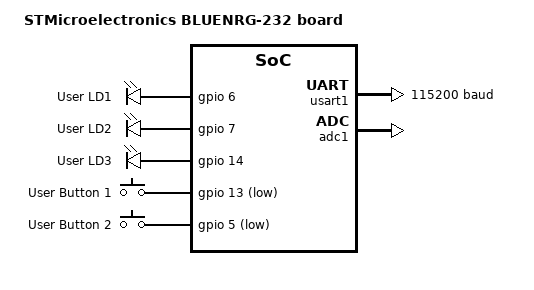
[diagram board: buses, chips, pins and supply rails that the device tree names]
/*
 * Copyright (c) 2017 Powersoft
 *
 * SPDX-License-Identifier: Apache-2.0
 */

/dts-v1/;
#include <st/bluenrg/bluenrg.dtsi>

/ {
	model = "STMicroelectronics BLUENRG-232 board";
	compatible = "st,bluenrg";

	chosen {
		zephyr,sram = &sram0;
		zephyr,flash = &flash0;
		zephyr,console = &usart1;
		zephyr,shell-uart = &usart1;
	};

	leds {
		compatible = "gpio-leds";
		green_led_1: led_1 {
			gpios = <&gpio 6 GPIO_ACTIVE_HIGH>;
			label = "User LD1";
		};
		green_led_2: led_2 {
			gpios = <&gpio 7 GPIO_ACTIVE_HIGH>;
			label = "User LD2";
		};
		green_led_3: led_3 {
			gpios = <&gpio 14 GPIO_ACTIVE_HIGH>;
			label = "User LD3";
		};
	};

	gpio_keys {
		compatible = "gpio-keys";
		user_button1: button1 {
			label = "User Button 1";
			gpios = <&gpio 13 GPIO_ACTIVE_LOW>;
		};
		user_button2: button2 {
			label = "User Button 2";
			gpios = <&gpio 5 GPIO_ACTIVE_LOW>;
		};
	};

	aliases {
		led0 = &green_led_1;
		led1 = &green_led_2;
		led2 = &green_led_3;
		sw0 = &user_button1;
		sw1 = &user_button2;
	};
};

&usart1 {
	current-speed = <115200>;
	status = "okay";
};

&adc1 {
	status = "okay";
};
